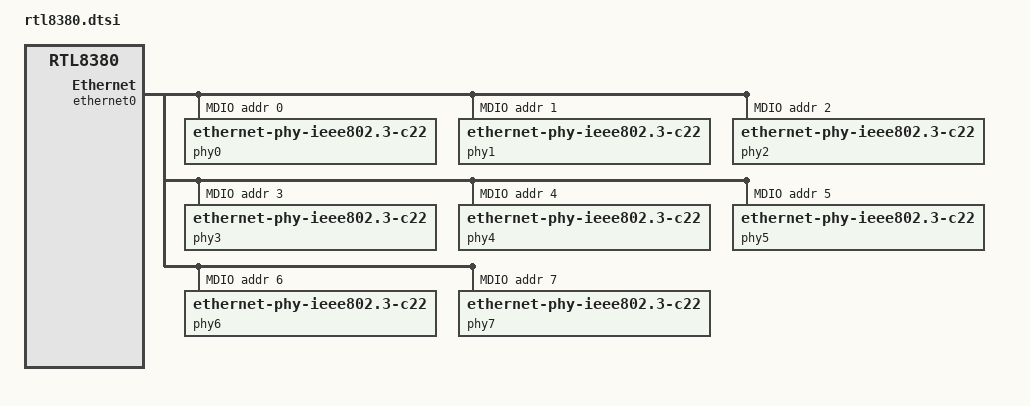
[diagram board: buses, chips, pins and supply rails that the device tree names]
// SPDX-License-Identifier: GPL-2.0-or-later OR BSD-2-Clause

&ethernet0 {
	mdio-bus {
		compatible = "realtek,rtl83xx-mdio";
		regmap = <&ethernet0>;
		#address-cells = <1>;
		#size-cells = <0>;

		phy0: ethernet-phy@0 {
			reg = <0>;
			compatible = "ethernet-phy-ieee802.3-c22";
		};
		phy1: ethernet-phy@1 {
			reg = <1>;
			compatible = "ethernet-phy-ieee802.3-c22";
		};
		phy2: ethernet-phy@2 {
			reg = <2>;
			compatible = "ethernet-phy-ieee802.3-c22";
		};
		phy3: ethernet-phy@3 {
			reg = <3>;
			compatible = "ethernet-phy-ieee802.3-c22";
		};
		phy4: ethernet-phy@4 {
			reg = <4>;
			compatible = "ethernet-phy-ieee802.3-c22";
		};
		phy5: ethernet-phy@5 {
			reg = <5>;
			compatible = "ethernet-phy-ieee802.3-c22";
		};
		phy6: ethernet-phy@6 {
			reg = <6>;
			compatible = "ethernet-phy-ieee802.3-c22";
		};
		phy7: ethernet-phy@7 {
			reg = <7>;
			compatible = "ethernet-phy-ieee802.3-c22";
		};
	};
};
